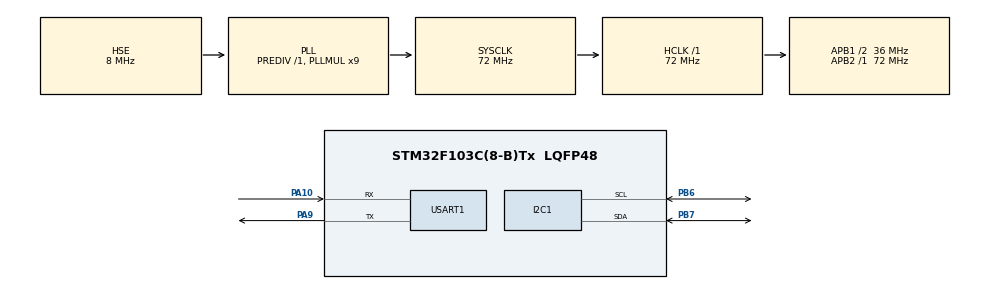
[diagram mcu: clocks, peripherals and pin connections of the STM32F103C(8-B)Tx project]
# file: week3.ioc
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Dma.Request0=USART1_RX
Dma.Request1=USART1_TX
Dma.USART1_RX.0.Direction=DMA_PERIPH_TO_MEMORY
Dma.USART1_RX.0.Instance=DMA1_Channel5
Dma.USART1_RX.0.MemDataAlignment=DMA_MDATAALIGN_BYTE
Dma.USART1_RX.0.MemInc=DMA_MINC_ENABLE
Dma.USART1_RX.0.Mode=DMA_NORMAL
Dma.USART1_RX.0.PeriphDataAlignment=DMA_PDATAALIGN_BYTE
Dma.USART1_RX.0.PeriphInc=DMA_PINC_DISABLE
Dma.USART1_RX.0.Priority=DMA_PRIORITY_LOW
Dma.USART1_TX.1.Direction=DMA_MEMORY_TO_PERIPH
Dma.USART1_TX.1.Instance=DMA1_Channel4
Dma.USART1_TX.1.MemDataAlignment=DMA_MDATAALIGN_BYTE
Dma.USART1_TX.1.MemInc=DMA_MINC_ENABLE
Dma.USART1_TX.1.Mode=DMA_NORMAL
Dma.USART1_TX.1.PeriphDataAlignment=DMA_PDATAALIGN_BYTE
Dma.USART1_TX.1.PeriphInc=DMA_PINC_DISABLE
Dma.USART1_TX.1.Priority=DMA_PRIORITY_LOW
I2C1.I2C_Mode=I2C_Fast
Mcu.Family=STM32F1
Mcu.Name=STM32F103C(8-B)Tx
Mcu.Package=LQFP48
NVIC.DMA1_Channel4_IRQn=true\:0\:0\:false\:false\:true\:false\:true\:true
NVIC.DMA1_Channel5_IRQn=true\:0\:0\:false\:false\:true\:false\:true\:true
NVIC.PriorityGroup=NVIC_PRIORITYGROUP_4
NVIC.TIM4_IRQn=true\:0\:0\:false\:false\:true\:true\:true\:true
NVIC.USART1_IRQn=true\:0\:0\:false\:false\:true\:false\:true\:true
PA10.Mode=Asynchronous
PA10.Signal=USART1_RX
PA13.Mode=Serial_Wire
PA13.Signal=SYS_JTMS-SWDIO
PA14.Mode=Serial_Wire
PA14.Signal=SYS_JTCK-SWCLK
PA9.Mode=Asynchronous
PA9.Signal=USART1_TX
PB6.Mode=I2C
PB6.Signal=I2C1_SCL
PB7.Mode=I2C
PB7.Signal=I2C1_SDA
PD0-OSC_IN.Mode=HSE-External-Oscillator
PD0-OSC_IN.Signal=RCC_OSC_IN
PD1-OSC_OUT.Mode=HSE-External-Oscillator
PD1-OSC_OUT.Signal=RCC_OSC_OUT
ProjectManager.HeapSize=0x200
ProjectManager.StackSize=0x400
ProjectManager.TargetToolchain=Makefile
RCC.AHBFreq_Value=72000000
RCC.APB1CLKDivider=RCC_HCLK_DIV2
RCC.APB1Freq_Value=36000000
RCC.APB1TimFreq_Value=72000000
RCC.APB2Freq_Value=72000000
RCC.APB2TimFreq_Value=72000000
RCC.HCLKFreq_Value=72000000
RCC.PLLMUL=RCC_PLL_MUL9
RCC.PLLSourceVirtual=RCC_PLLSOURCE_HSE
RCC.SYSCLKFreq_VALUE=72000000
RCC.SYSCLKSource=RCC_SYSCLKSOURCE_PLLCLK
RCC.USBFreq_Value=72000000
TIM4.AutoReloadPreload=TIM_AUTORELOAD_PRELOAD_ENABLE
TIM4.Period=100-1
TIM4.Prescaler=7200-1
USART1.VirtualMode=VM_ASYNC
VP_TIM4_VS_ClockSourceINT.Mode=Internal
board=custom

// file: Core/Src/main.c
/* USER CODE BEGIN Header */
/**
  ******************************************************************************
  * @file           : main.c
  * @brief          : Main program body
  ******************************************************************************
  * @attention
  *
  * Copyright (c) 2026 STMicroelectronics.
  * All rights reserved.
  *
  * This software is licensed under terms that can be found in the LICENSE file
  * in the root directory of this software component.
  * If no LICENSE file comes with this software, it is provided AS-IS.
  *
  ******************************************************************************
  */
/* USER CODE END Header */
#include "main.h"
#include "dma.h"
#include "i2c.h"
#include "tim.h"
#include "usart.h"
#include "gpio.h"

/* USER CODE BEGIN Includes */
#include <oled.h>
#include<string.h>
#include<math.h>
/* USER CODE END Includes */

/* USER CODE BEGIN PD */
#define WAVE_SINE     0U
#define WAVE_SAW      1U
#define WAVE_SQUARE   2U

#define N_SINE        100U
#define N_SAW         50U
#define N_SQUARE      150U
#define PI_F          3.14159265f

#define RX_BUF_SIZE   32U

#define LINE_H        16U
/* USER CODE END PD */

/* USER CODE BEGIN PV */
static uint8_t rx_buff[RX_BUF_SIZE];
static uint8_t tx_frame[8];
static const uint8_t JF_TAIL[4]={0x00,0x00,0x80,0x7F};
static volatile uint8_t wave_idx=WAVE_SINE;
static volatile uint8_t sample_idx=0U;
static volatile uint8_t wave_dirty = 1U;
static uint8_t tx_buff[32];
/* USER CODE END PV */

void SystemClock_Config(void);
/* USER CODE BEGIN PFP */
static void OLED_ShowWaveInfo(void);
/* USER CODE END PFP */

int main(void)
{

  /* MCU Configuration--------------------------------------------------------*/

  /* Reset of all peripherals, Initializes the Flash interface and the Systick. */
  HAL_Init();

  /* Configure the system clock */
  SystemClock_Config();

  /* Initialize all configured peripherals */
  MX_GPIO_Init();
  MX_DMA_Init();
  MX_I2C1_Init();
  MX_USART1_UART_Init();
  MX_TIM4_Init();
  /* USER CODE BEGIN 2 */
  HAL_Delay(30U);
  OLED_Init();
  OLED_DisPlay_On();
  OLED_NewFrame();
  OLED_ShowWaveInfo();
  OLED_ShowFrame();
  HAL_UARTEx_ReceiveToIdle_DMA(&huart1,rx_buff,sizeof(rx_buff));
  HAL_TIM_Base_Start_IT(&htim4);
  /* USER CODE END 2 */

  /* Infinite loop */
  /* USER CODE BEGIN WHILE */
  while (1)
  {
    // static uint8_t show=0;
    /* USER CODE END WHILE */

    /* USER CODE BEGIN 3 */
    // for(uint8_t i=0;i<64;i++)
    // {
    //   OLED_NewFrame();
    //   OLED_PrintString(i, i, "hishkhsi", &font16x16, OLED_COLOR_NORMAL);
    //   OLED_ShowFrame();
    //   HAL_Delay(100);
    // }

  if(wave_dirty!=0U)
  {
    wave_dirty=0U;
    OLED_NewFrame();
    OLED_ShowWaveInfo();
    OLED_ShowFrame();
  }

  }
  /* USER CODE END 3 */
}

void SystemClock_Config(void)
{
  RCC_OscInitTypeDef RCC_OscInitStruct = {0};
  RCC_ClkInitTypeDef RCC_ClkInitStruct = {0};

  /** Initializes the RCC Oscillators according to the specified parameters
  * in the RCC_OscInitTypeDef structure.
  */
  RCC_OscInitStruct.OscillatorType = RCC_OSCILLATORTYPE_HSE;
  RCC_OscInitStruct.HSEState = RCC_HSE_ON;
  RCC_OscInitStruct.HSEPredivValue = RCC_HSE_PREDIV_DIV1;
  RCC_OscInitStruct.HSIState = RCC_HSI_ON;
  RCC_OscInitStruct.PLL.PLLState = RCC_PLL_ON;
  RCC_OscInitStruct.PLL.PLLSource = RCC_PLLSOURCE_HSE;
  RCC_OscInitStruct.PLL.PLLMUL = RCC_PLL_MUL9;
  if (HAL_RCC_OscConfig(&RCC_OscInitStruct) != HAL_OK)
  {
    Error_Handler();
  }

  /** Initializes the CPU, AHB and APB buses clocks
  */
  RCC_ClkInitStruct.ClockType = RCC_CLOCKTYPE_HCLK|RCC_CLOCKTYPE_SYSCLK
                              |RCC_CLOCKTYPE_PCLK1|RCC_CLOCKTYPE_PCLK2;
  RCC_ClkInitStruct.SYSCLKSource = RCC_SYSCLKSOURCE_PLLCLK;
  RCC_ClkInitStruct.AHBCLKDivider = RCC_SYSCLK_DIV1;
  RCC_ClkInitStruct.APB1CLKDivider = RCC_HCLK_DIV2;
  RCC_ClkInitStruct.APB2CLKDivider = RCC_HCLK_DIV1;

  if (HAL_RCC_ClockConfig(&RCC_ClkInitStruct, FLASH_LATENCY_2) != HAL_OK)
  {
    Error_Handler();
  }
}

/* USER CODE BEGIN 4 */
void HAL_UARTEx_RxEventCallback(UART_HandleTypeDef *huart, uint16_t Size)
{
  if(huart!=&huart1)return;

   for (uint16_t i = 0; i < Size; i++)
  {
    uint8_t ch = rx_buff[i];
    if (ch == '\r' || ch == '\n') continue;
    if (ch >= '1' && ch <= '3')
    {
      wave_idx = (uint8_t)(ch - '1');
      sample_idx = 0U;
      wave_dirty = 1U;
    }
  }

  HAL_UARTEx_ReceiveToIdle_DMA(&huart1,rx_buff,sizeof(rx_buff));
  // if (Size>sizeof(tx_buff)) Size=sizeof(tx_buff);
  // memcpy(tx_buff,rx_buff,Size);
  // HAL_UART_Transmit_DMA(&huart1,tx_buff,Size);

}

void HAL_TIM_PeriodElapsedCallback(TIM_HandleTypeDef *htim)
{
  float y;
  uint16_t n;

  if (htim!=&htim4) return;

  switch (wave_idx)
  {
    case WAVE_SINE:
      n = N_SINE;
      y = 2.0f * sinf(2.0f * PI_F * (float)sample_idx / (float)n);
      break;
    case WAVE_SAW:
      n = N_SAW;
      y = -1.0f + 2.0f * (float)sample_idx / (float)n;
      break;
    case WAVE_SQUARE:
      n = N_SQUARE;
      y = (sample_idx < (n / 2U)) ? 0.5f : -0.5f;
      break;
    default:
      n = N_SINE;
      y = 0.0f;
      break;
  }
  sample_idx++;
  if (sample_idx >= n) sample_idx = 0U;

  memcpy(tx_frame, &y, sizeof(y));
  memcpy(tx_frame + 4, JF_TAIL, sizeof(JF_TAIL));

  if (huart1.gState == HAL_UART_STATE_READY)
  {
    HAL_UART_Transmit_DMA(&huart1, tx_frame, sizeof(tx_frame));
  }
}

static void OLED_ShowWaveInfo(void)
{
  switch (wave_idx)
  {
    case WAVE_SINE:
      OLED_PrintString(0, LINE_H * 0U, "MODE: SINE",   &font16x16, OLED_COLOR_NORMAL);
      OLED_PrintString(0, LINE_H * 1U, "成家齐hishkhsi", &font16x16, OLED_COLOR_NORMAL);
      OLED_PrintString(0, LINE_H * 2U, "RoboMaster",  &font16x16, OLED_COLOR_NORMAL);
      OLED_PrintString(0, LINE_H * 3U, "第三周培训",  &font16x16, OLED_COLOR_NORMAL);
      break;
    case WAVE_SAW:
      OLED_PrintString(0, LINE_H * 0U, "MODE: SAWTOOTH",    &font16x16, OLED_COLOR_NORMAL);
      OLED_PrintString(0, LINE_H * 1U, "成家齐hishkhsi", &font16x16, OLED_COLOR_NORMAL);
      OLED_PrintString(0, LINE_H * 2U, "RoboMaster",  &font16x16, OLED_COLOR_NORMAL);
      OLED_PrintString(0, LINE_H * 3U, "第三周培训",  &font16x16, OLED_COLOR_NORMAL);
      break;
    case WAVE_SQUARE:
      OLED_PrintString(0, LINE_H * 0U, "MODE: SQUARE", &font16x16, OLED_COLOR_NORMAL);
      OLED_PrintString(0, LINE_H * 1U, "成家齐hishkhsi", &font16x16, OLED_COLOR_NORMAL);
      OLED_PrintString(0, LINE_H * 2U, "RoboMaster",  &font16x16, OLED_COLOR_NORMAL);
      OLED_PrintString(0, LINE_H * 3U, "第三周培训",  &font16x16, OLED_COLOR_NORMAL);
      break;
    default:
      break;
  }
}
/* USER CODE END 4 */

void Error_Handler(void)
{
  __disable_irq();
  while (1)
  {
  }
}
